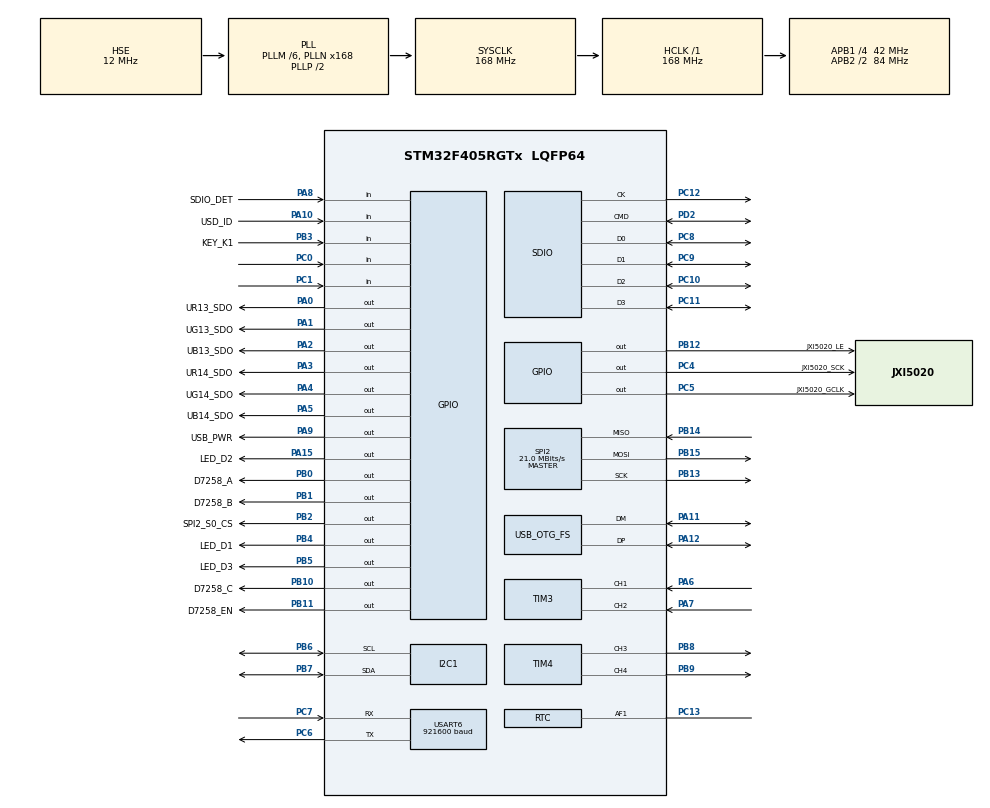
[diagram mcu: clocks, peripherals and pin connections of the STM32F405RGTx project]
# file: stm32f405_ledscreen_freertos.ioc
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Dma.Request0=SDIO_RX
Dma.Request1=SDIO_TX
Dma.SDIO_RX.0.Direction=DMA_PERIPH_TO_MEMORY
Dma.SDIO_RX.0.FIFOMode=DMA_FIFOMODE_ENABLE
Dma.SDIO_RX.0.FIFOThreshold=DMA_FIFO_THRESHOLD_FULL
Dma.SDIO_RX.0.Instance=DMA2_Stream3
Dma.SDIO_RX.0.MemBurst=DMA_MBURST_INC4
Dma.SDIO_RX.0.MemDataAlignment=DMA_MDATAALIGN_WORD
Dma.SDIO_RX.0.MemInc=DMA_MINC_ENABLE
Dma.SDIO_RX.0.Mode=DMA_PFCTRL
Dma.SDIO_RX.0.PeriphBurst=DMA_PBURST_INC4
Dma.SDIO_RX.0.PeriphDataAlignment=DMA_PDATAALIGN_WORD
Dma.SDIO_RX.0.PeriphInc=DMA_PINC_DISABLE
Dma.SDIO_RX.0.Priority=DMA_PRIORITY_HIGH
Dma.SDIO_TX.1.Direction=DMA_MEMORY_TO_PERIPH
Dma.SDIO_TX.1.FIFOMode=DMA_FIFOMODE_ENABLE
Dma.SDIO_TX.1.FIFOThreshold=DMA_FIFO_THRESHOLD_FULL
Dma.SDIO_TX.1.Instance=DMA2_Stream6
Dma.SDIO_TX.1.MemBurst=DMA_MBURST_INC4
Dma.SDIO_TX.1.MemDataAlignment=DMA_MDATAALIGN_WORD
Dma.SDIO_TX.1.MemInc=DMA_MINC_ENABLE
Dma.SDIO_TX.1.Mode=DMA_PFCTRL
Dma.SDIO_TX.1.PeriphBurst=DMA_PBURST_INC4
Dma.SDIO_TX.1.PeriphDataAlignment=DMA_PDATAALIGN_WORD
Dma.SDIO_TX.1.PeriphInc=DMA_PINC_DISABLE
Dma.SDIO_TX.1.Priority=DMA_PRIORITY_HIGH
FREERTOS.Tasks01=defaultTask,0,128,StartDefaultTask,Default,NULL,Dynamic,NULL,NULL;myDisplayTask,-3,256,StartDisplayTask,Default,NULL,Dynamic,NULL,NULL
FREERTOS.configTICK_RATE_HZ=100
Mcu.Family=STM32F4
Mcu.Name=STM32F405RGTx
Mcu.Package=LQFP64
NVIC.DMA2_Stream3_IRQn=true\:5\:0\:false\:false\:true\:true\:false
NVIC.DMA2_Stream6_IRQn=true\:5\:0\:false\:false\:true\:true\:false
NVIC.OTG_FS_IRQn=true\:5\:0\:false\:false\:true\:true\:false
NVIC.PriorityGroup=NVIC_PRIORITYGROUP_4
NVIC.SDIO_IRQn=true\:5\:0\:false\:false\:true\:true\:true
NVIC.TIM6_DAC_IRQn=true\:0\:0\:false\:false\:true\:false\:false
NVIC.TimeBase=TIM6_DAC_IRQn
NVIC.TimeBaseIP=TIM6
PA0-WKUP.GPIO_Label=UR13_SDO
PA0-WKUP.GPIO_Speed=GPIO_SPEED_FREQ_VERY_HIGH
PA0-WKUP.PinState=GPIO_PIN_RESET
PA0-WKUP.Signal=GPIO_Output
PA1.GPIO_Label=UG13_SDO
PA1.GPIO_Speed=GPIO_SPEED_FREQ_VERY_HIGH
PA1.Signal=GPIO_Output
PA10.GPIO_Label=USD_ID
PA10.Signal=GPIO_Input
PA11.Mode=Device_Only
PA11.Signal=USB_OTG_FS_DM
PA12.Mode=Device_Only
PA12.Signal=USB_OTG_FS_DP
PA13.Mode=Serial_Wire
PA13.Signal=SYS_JTMS-SWDIO
PA14.Mode=Serial_Wire
PA14.Signal=SYS_JTCK-SWCLK
PA15.GPIO_Label=LED_D2
PA15.Signal=GPIO_Output
PA2.GPIO_Label=UB13_SDO
PA2.GPIO_Speed=GPIO_SPEED_FREQ_VERY_HIGH
PA2.Signal=GPIO_Output
PA3.GPIO_Label=UR14_SDO
PA3.GPIO_Speed=GPIO_SPEED_FREQ_VERY_HIGH
PA3.Signal=GPIO_Output
PA4.GPIO_Label=UG14_SDO
PA4.GPIO_Speed=GPIO_SPEED_FREQ_VERY_HIGH
PA4.Signal=GPIO_Output
PA5.GPIO_Label=UB14_SDO
PA5.GPIO_Speed=GPIO_SPEED_FREQ_VERY_HIGH
PA5.Signal=GPIO_Output
PA6.Signal=S_TIM3_CH1
PA7.Signal=S_TIM3_CH2
PA8.GPIO_Label=SDIO_DET
PA8.GPIO_PuPd=GPIO_PULLUP
PA8.Signal=GPIO_Input
PA9.GPIO_Label=USB_PWR
PA9.Signal=GPIO_Output
PB0.GPIO_Label=D7258_A
PB0.GPIO_Speed=GPIO_SPEED_FREQ_VERY_HIGH
PB0.Signal=GPIO_Output
PB1.GPIO_Label=D7258_B
PB1.GPIO_Speed=GPIO_SPEED_FREQ_VERY_HIGH
PB1.Signal=GPIO_Output
PB10.GPIO_Label=D7258_C
PB10.GPIO_Speed=GPIO_SPEED_FREQ_VERY_HIGH
PB10.Signal=GPIO_Output
PB11.GPIO_Label=D7258_EN
PB11.GPIO_Speed=GPIO_SPEED_FREQ_VERY_HIGH
PB11.Signal=GPIO_Output
PB12.GPIO_Label=JXI5020_LE
PB12.GPIO_Speed=GPIO_SPEED_FREQ_VERY_HIGH
PB12.Signal=GPIO_Output
PB13.Mode=Full_Duplex_Master
PB13.Signal=SPI2_SCK
PB14.Mode=Full_Duplex_Master
PB14.Signal=SPI2_MISO
PB15.Mode=Full_Duplex_Master
PB15.Signal=SPI2_MOSI
PB2.GPIO_Label=SPI2_S0_CS
PB2.Signal=GPIO_Output
PB3.GPIO_Label=KEY_K1
PB3.Signal=GPIO_Input
PB4.GPIO_Label=LED_D1
PB4.Signal=GPIO_Output
PB5.GPIO_Label=LED_D3
PB5.Signal=GPIO_Output
PB6.Mode=I2C
PB6.Signal=I2C1_SCL
PB7.Mode=I2C
PB7.Signal=I2C1_SDA
PB8.Signal=S_TIM4_CH3
PB9.Signal=S_TIM4_CH4
PC0.Signal=GPIO_Input
PC1.Signal=GPIO_Input
PC10.Mode=SD_4_bits_Wide_bus
PC10.Signal=SDIO_D2
PC11.Mode=SD_4_bits_Wide_bus
PC11.Signal=SDIO_D3
PC12.Mode=SD_4_bits_Wide_bus
PC12.Signal=SDIO_CK
PC13-ANTI_TAMP.Mode=Calibration_1Hz
PC13-ANTI_TAMP.Signal=RTC_AF1
PC14-OSC32_IN.Mode=LSE-External-Oscillator
PC14-OSC32_IN.Signal=RCC_OSC32_IN
PC15-OSC32_OUT.Mode=LSE-External-Oscillator
PC15-OSC32_OUT.Signal=RCC_OSC32_OUT
PC4.GPIO_Label=JXI5020_SCK
PC4.GPIO_Speed=GPIO_SPEED_FREQ_VERY_HIGH
PC4.Signal=GPIO_Output
PC5.GPIO_Label=JXI5020_GCLK
PC5.GPIO_Speed=GPIO_SPEED_FREQ_VERY_HIGH
PC5.Signal=GPIO_Output
PC6.Mode=Asynchronous
PC6.Signal=USART6_TX
PC7.Mode=Asynchronous
PC7.Signal=USART6_RX
PC8.Mode=SD_4_bits_Wide_bus
PC8.Signal=SDIO_D0
PC9.Mode=SD_4_bits_Wide_bus
PC9.Signal=SDIO_D1
PD2.Mode=SD_4_bits_Wide_bus
PD2.Signal=SDIO_CMD
PH0-OSC_IN.GPIO_Label=RCC_OSC12_IN
PH0-OSC_IN.Mode=HSE-External-Oscillator
PH0-OSC_IN.Signal=RCC_OSC_IN
PH1-OSC_OUT.GPIO_Label=RCC_OSC12_OUT
PH1-OSC_OUT.Mode=HSE-External-Oscillator
PH1-OSC_OUT.Signal=RCC_OSC_OUT
ProjectManager.HeapSize=0x200
ProjectManager.StackSize=0x400
ProjectManager.TargetToolchain=Makefile
RCC.48MHZClocksFreq_Value=48000000
RCC.AHBFreq_Value=168000000
RCC.APB1CLKDivider=RCC_HCLK_DIV4
RCC.APB1Freq_Value=42000000
RCC.APB1TimFreq_Value=84000000
RCC.APB2CLKDivider=RCC_HCLK_DIV2
RCC.APB2Freq_Value=84000000
RCC.APB2TimFreq_Value=168000000
RCC.CortexFreq_Value=168000000
RCC.HCLKFreq_Value=168000000
RCC.HSE_VALUE=12000000
RCC.HSI_VALUE=16000000
RCC.PLLM=6
RCC.PLLN=168
RCC.PLLQ=7
RCC.RCC_RTC_Clock_Source=RCC_RTCCLKSOURCE_LSE
RCC.RCC_RTC_Clock_SourceVirtual=RCC_RTCCLKSOURCE_LSE
RCC.SYSCLKFreq_VALUE=168000000
RCC.SYSCLKSource=RCC_SYSCLKSOURCE_PLLCLK
RCC.VCOOutputFreq_Value=336000000
SH.S_TIM3_CH1.0=TIM3_CH1,Input_Capture1_from_TI1
SH.S_TIM3_CH2.0=TIM3_CH2,Input_Capture2_from_TI2
SH.S_TIM4_CH3.0=TIM4_CH3,PWM Generation3 CH3
SH.S_TIM4_CH4.0=TIM4_CH4,PWM Generation4 CH4
SPI2.CalculateBaudRate=21.0 MBits/s
SPI2.Direction=SPI_DIRECTION_2LINES
SPI2.Mode=SPI_MODE_MASTER
SPI2.VirtualType=VM_MASTER
TIM3.Channel-Input_Capture1_from_TI1=TIM_CHANNEL_1
TIM3.Channel-Input_Capture2_from_TI2=TIM_CHANNEL_2
TIM4.Channel-PWM\ Generation3\ CH3=TIM_CHANNEL_3
TIM4.Channel-PWM\ Generation4\ CH4=TIM_CHANNEL_4
USART6.BaudRate=921600
USART6.VirtualMode=VM_ASYNC
USB_DEVICE.CLASS_NAME_FS=CDC
USB_DEVICE.USBD_SELF_POWERED-CDC_FS=0
USB_DEVICE.VirtualMode-CDC_FS=Cdc
USB_DEVICE.VirtualModeFS=Cdc_FS
USB_OTG_FS.VirtualMode=Device_Only
VP_FREERTOS_VS_ENABLE.Mode=Enabled
VP_RTC_VS_RTC_Activate.Mode=RTC_Enabled
VP_SYS_VS_tim6.Mode=TIM6
VP_USB_DEVICE_VS_USB_DEVICE_CDC_FS.Mode=CDC_FS
board=stm32f405_ledscreen_freertos

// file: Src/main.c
/**
  ******************************************************************************
  * @file           : main.c
  * @brief          : Main program body
  ******************************************************************************
  * This notice applies to any and all portions of this file
  * that are not between comment pairs USER CODE BEGIN and
  * USER CODE END. Other portions of this file, whether
  * inserted by the user or by software development tools
  * are owned by their respective copyright owners.
  *
  * Copyright (c) 2018 STMicroelectronics International N.V.
  * All rights reserved.
  *
  * Redistribution and use in source and binary forms, with or without
  * modification, are permitted, provided that the following conditions are met:
  *
  * 1. Redistribution of source code must retain the above copyright notice,
  *    this list of conditions and the following disclaimer.
  * 2. Redistributions in binary form must reproduce the above copyright notice,
  *    this list of conditions and the following disclaimer in the documentation
  *    and/or other materials provided with the distribution.
  * 3. Neither the name of STMicroelectronics nor the names of other
  *    contributors to this software may be used to endorse or promote products
  *    derived from this software without specific written permission.
  * 4. This software, including modifications and/or derivative works of this
  *    software, must execute solely and exclusively on microcontroller or
  *    microprocessor devices manufactured by or for STMicroelectronics.
  * 5. Redistribution and use of this software other than as permitted under
  *    this license is void and will automatically terminate your rights under
  *    this license.
  *
  * THIS SOFTWARE IS PROVIDED BY STMICROELECTRONICS AND CONTRIBUTORS "AS IS"
  * AND ANY EXPRESS, IMPLIED OR STATUTORY WARRANTIES, INCLUDING, BUT NOT
  * LIMITED TO, THE IMPLIED WARRANTIES OF MERCHANTABILITY, FITNESS FOR A
  * PARTICULAR PURPOSE AND NON-INFRINGEMENT OF THIRD PARTY INTELLECTUAL PROPERTY
  * RIGHTS ARE DISCLAIMED TO THE FULLEST EXTENT PERMITTED BY LAW. IN NO EVENT
  * SHALL STMICROELECTRONICS OR CONTRIBUTORS BE LIABLE FOR ANY DIRECT, INDIRECT,
  * INCIDENTAL, SPECIAL, EXEMPLARY, OR CONSEQUENTIAL DAMAGES (INCLUDING, BUT NOT
  * LIMITED TO, PROCUREMENT OF SUBSTITUTE GOODS OR SERVICES; LOSS OF USE, DATA,
  * OR PROFITS; OR BUSINESS INTERRUPTION) HOWEVER CAUSED AND ON ANY THEORY OF
  * LIABILITY, WHETHER IN CONTRACT, STRICT LIABILITY, OR TORT (INCLUDING
  * NEGLIGENCE OR OTHERWISE) ARISING IN ANY WAY OUT OF THE USE OF THIS SOFTWARE,
  * EVEN IF ADVISED OF THE POSSIBILITY OF SUCH DAMAGE.
  *
  ******************************************************************************
  */
#include "main.h"
#include "stm32f4xx_hal.h"
#include "cmsis_os.h"
#include "usb_device.h"

/* USER CODE BEGIN Includes */
#include "led_display.h"
/* USER CODE END Includes */

I2C_HandleTypeDef hi2c1;

RTC_HandleTypeDef hrtc;

SD_HandleTypeDef hsd;
DMA_HandleTypeDef hdma_sdio_rx;
DMA_HandleTypeDef hdma_sdio_tx;

SPI_HandleTypeDef hspi2;

TIM_HandleTypeDef htim3;
TIM_HandleTypeDef htim4;

UART_HandleTypeDef huart6;

osThreadId defaultTaskHandle;
osThreadId myDisplayTaskHandle;

/* USER CODE BEGIN PV */
/* Private variables ---------------------------------------------------------*/
/* USER CODE BEGIN 4 */
#ifdef __GNUC__
/* With GCC/RAISONANCE, small printf (option LD Linker->Libraries->Small printf
     set to 'Yes') calls __io_putchar() */
#define PUTCHAR_PROTOTYPE int __io_putchar(int ch)
#else
#define PUTCHAR_PROTOTYPE int fputc(int ch, FILE *f)
#endif /* __GNUC__ */
//extern  HAL_StatusTypeDef UART_WaitOnFlagUntilTimeout(UART_HandleTypeDef *huart, uint32_t Flag, FlagStatus Status, uint32_t Tickstart, uint32_t Timeout);
PUTCHAR_PROTOTYPE
{
	/* Place your implementation of fputc here */
	/* e.g. write a character to the USART */
	//uint8_t data = (uint8_t)ch;
	//HAL_UART_Transmit(&huart2, &data, 1, 0xff);
	uint32_t tickstart = HAL_GetTick();
	huart6.Instance->DR = ((uint16_t)ch & (uint16_t)0x01FF);
	while(((__HAL_UART_GET_FLAG(&huart6, UART_FLAG_TC) ? SET : RESET) == RESET) || ((HAL_GetTick() - tickstart ) > 0xff));
	//CLEAR_BIT(huart2.Instance->CR1, (USART_CR1_RXNEIE | USART_CR1_PEIE | USART_CR1_TXEIE));
    //CLEAR_BIT(huart2.Instance->CR3, USART_CR3_EIE);
	//UART_WaitOnFlagUntilTimeout(&huart2, UART_FLAG_TC, RESET, HAL_GetTick(), 0xff);
	return ch;
}
/* USER CODE END 4 */
/* USER CODE END PV */

void SystemClock_Config(void);
static void MX_GPIO_Init(void);
static void MX_DMA_Init(void);
static void MX_USART6_UART_Init(void);
static void MX_RTC_Init(void);
static void MX_I2C1_Init(void);
static void MX_SDIO_SD_Init(void);
static void MX_TIM4_Init(void);
static void MX_TIM3_Init(void);
static void MX_SPI2_Init(void);
void StartDefaultTask(void const * argument);
void StartDisplayTask(void const * argument);

void HAL_TIM_MspPostInit(TIM_HandleTypeDef *htim);

/* USER CODE BEGIN PFP */
/* Private function prototypes -----------------------------------------------*/

/* USER CODE END PFP */

int main(void)
{

  /* MCU Configuration----------------------------------------------------------*/

  /* Reset of all peripherals, Initializes the Flash interface and the Systick. */
  HAL_Init();

  /* Configure the system clock */
  SystemClock_Config();

  /* Initialize all configured peripherals */
  MX_GPIO_Init();
  MX_DMA_Init();
  MX_USART6_UART_Init();
  MX_RTC_Init();
  MX_I2C1_Init();
  MX_SDIO_SD_Init();
  MX_TIM4_Init();
  MX_TIM3_Init();
  MX_SPI2_Init();

  /* Create the thread(s) */
  /* definition and creation of defaultTask */
  osThreadDef(defaultTask, StartDefaultTask, osPriorityNormal, 0, 128);
  defaultTaskHandle = osThreadCreate(osThread(defaultTask), NULL);

  /* definition and creation of myDisplayTask */
  osThreadDef(myDisplayTask, StartDisplayTask, osPriorityIdle, 0, 256);
  myDisplayTaskHandle = osThreadCreate(osThread(myDisplayTask), NULL);

  /* Start scheduler */
  osKernelStart();

  /* We should never get here as control is now taken by the scheduler */

  /* Infinite loop */
  while (1)
  {

  }

}

void SystemClock_Config(void)
{

  RCC_OscInitTypeDef RCC_OscInitStruct;
  RCC_ClkInitTypeDef RCC_ClkInitStruct;
  RCC_PeriphCLKInitTypeDef PeriphClkInitStruct;

    /**Configure the main internal regulator output voltage
    */
  __HAL_RCC_PWR_CLK_ENABLE();

  __HAL_PWR_VOLTAGESCALING_CONFIG(PWR_REGULATOR_VOLTAGE_SCALE1);

    /**Initializes the CPU, AHB and APB busses clocks
    */
  RCC_OscInitStruct.OscillatorType = RCC_OSCILLATORTYPE_HSE|RCC_OSCILLATORTYPE_LSE;
  RCC_OscInitStruct.HSEState = RCC_HSE_ON;
  RCC_OscInitStruct.LSEState = RCC_LSE_ON;
  RCC_OscInitStruct.PLL.PLLState = RCC_PLL_ON;
  RCC_OscInitStruct.PLL.PLLSource = RCC_PLLSOURCE_HSE;
  RCC_OscInitStruct.PLL.PLLM = 6;
  RCC_OscInitStruct.PLL.PLLN = 168;
  RCC_OscInitStruct.PLL.PLLP = RCC_PLLP_DIV2;
  RCC_OscInitStruct.PLL.PLLQ = 7;
  if (HAL_RCC_OscConfig(&RCC_OscInitStruct) != HAL_OK)
  {
    _Error_Handler(__FILE__, __LINE__);
  }

    /**Initializes the CPU, AHB and APB busses clocks
    */
  RCC_ClkInitStruct.ClockType = RCC_CLOCKTYPE_HCLK|RCC_CLOCKTYPE_SYSCLK
                              |RCC_CLOCKTYPE_PCLK1|RCC_CLOCKTYPE_PCLK2;
  RCC_ClkInitStruct.SYSCLKSource = RCC_SYSCLKSOURCE_PLLCLK;
  RCC_ClkInitStruct.AHBCLKDivider = RCC_SYSCLK_DIV1;
  RCC_ClkInitStruct.APB1CLKDivider = RCC_HCLK_DIV4;
  RCC_ClkInitStruct.APB2CLKDivider = RCC_HCLK_DIV2;

  if (HAL_RCC_ClockConfig(&RCC_ClkInitStruct, FLASH_LATENCY_5) != HAL_OK)
  {
    _Error_Handler(__FILE__, __LINE__);
  }

  PeriphClkInitStruct.PeriphClockSelection = RCC_PERIPHCLK_RTC;
  PeriphClkInitStruct.RTCClockSelection = RCC_RTCCLKSOURCE_LSE;
  if (HAL_RCCEx_PeriphCLKConfig(&PeriphClkInitStruct) != HAL_OK)
  {
    _Error_Handler(__FILE__, __LINE__);
  }

    /**Configure the Systick interrupt time
    */
  HAL_SYSTICK_Config(HAL_RCC_GetHCLKFreq()/1000);

    /**Configure the Systick
    */
  HAL_SYSTICK_CLKSourceConfig(SYSTICK_CLKSOURCE_HCLK);

  /* SysTick_IRQn interrupt configuration */
  HAL_NVIC_SetPriority(SysTick_IRQn, 15, 0);
}

/* I2C1 init function */
static void MX_I2C1_Init(void)
{

  hi2c1.Instance = I2C1;
  hi2c1.Init.ClockSpeed = 100000;
  hi2c1.Init.DutyCycle = I2C_DUTYCYCLE_2;
  hi2c1.Init.OwnAddress1 = 0;
  hi2c1.Init.AddressingMode = I2C_ADDRESSINGMODE_7BIT;
  hi2c1.Init.DualAddressMode = I2C_DUALADDRESS_DISABLE;
  hi2c1.Init.OwnAddress2 = 0;
  hi2c1.Init.GeneralCallMode = I2C_GENERALCALL_DISABLE;
  hi2c1.Init.NoStretchMode = I2C_NOSTRETCH_DISABLE;
  if (HAL_I2C_Init(&hi2c1) != HAL_OK)
  {
    _Error_Handler(__FILE__, __LINE__);
  }

}

/* RTC init function */
static void MX_RTC_Init(void)
{

    /**Initialize RTC Only
    */
  hrtc.Instance = RTC;
  hrtc.Init.HourFormat = RTC_HOURFORMAT_24;
  hrtc.Init.AsynchPrediv = 127;
  hrtc.Init.SynchPrediv = 255;
  hrtc.Init.OutPut = RTC_OUTPUT_DISABLE;
  hrtc.Init.OutPutPolarity = RTC_OUTPUT_POLARITY_HIGH;
  hrtc.Init.OutPutType = RTC_OUTPUT_TYPE_OPENDRAIN;
  if (HAL_RTC_Init(&hrtc) != HAL_OK)
  {
    _Error_Handler(__FILE__, __LINE__);
  }

    /**Enable Calibrartion
    */
  if (HAL_RTCEx_SetCalibrationOutPut(&hrtc, RTC_CALIBOUTPUT_1HZ) != HAL_OK)
  {
    _Error_Handler(__FILE__, __LINE__);
  }

}

/* SDIO init function */
static void MX_SDIO_SD_Init(void)
{

  hsd.Instance = SDIO;
  hsd.Init.ClockEdge = SDIO_CLOCK_EDGE_RISING;
  hsd.Init.ClockBypass = SDIO_CLOCK_BYPASS_DISABLE;
  hsd.Init.ClockPowerSave = SDIO_CLOCK_POWER_SAVE_DISABLE;
  hsd.Init.BusWide = SDIO_BUS_WIDE_1B;
  hsd.Init.HardwareFlowControl = SDIO_HARDWARE_FLOW_CONTROL_DISABLE;
  hsd.Init.ClockDiv = 0;
  if (HAL_SD_Init(&hsd) != HAL_OK)
  {
    _Error_Handler(__FILE__, __LINE__);
  }

  if (HAL_SD_ConfigWideBusOperation(&hsd, SDIO_BUS_WIDE_4B) != HAL_OK)
  {
    _Error_Handler(__FILE__, __LINE__);
  }

}

/* SPI2 init function */
static void MX_SPI2_Init(void)
{

  /* SPI2 parameter configuration*/
  hspi2.Instance = SPI2;
  hspi2.Init.Mode = SPI_MODE_MASTER;
  hspi2.Init.Direction = SPI_DIRECTION_2LINES;
  hspi2.Init.DataSize = SPI_DATASIZE_8BIT;
  hspi2.Init.CLKPolarity = SPI_POLARITY_LOW;
  hspi2.Init.CLKPhase = SPI_PHASE_1EDGE;
  hspi2.Init.NSS = SPI_NSS_SOFT;
  hspi2.Init.BaudRatePrescaler = SPI_BAUDRATEPRESCALER_2;
  hspi2.Init.FirstBit = SPI_FIRSTBIT_MSB;
  hspi2.Init.TIMode = SPI_TIMODE_DISABLE;
  hspi2.Init.CRCCalculation = SPI_CRCCALCULATION_DISABLE;
  hspi2.Init.CRCPolynomial = 10;
  if (HAL_SPI_Init(&hspi2) != HAL_OK)
  {
    _Error_Handler(__FILE__, __LINE__);
  }

}

/* TIM3 init function */
static void MX_TIM3_Init(void)
{

  TIM_MasterConfigTypeDef sMasterConfig;
  TIM_IC_InitTypeDef sConfigIC;

  htim3.Instance = TIM3;
  htim3.Init.Prescaler = 0;
  htim3.Init.CounterMode = TIM_COUNTERMODE_UP;
  htim3.Init.Period = 0;
  htim3.Init.ClockDivision = TIM_CLOCKDIVISION_DIV1;
  if (HAL_TIM_IC_Init(&htim3) != HAL_OK)
  {
    _Error_Handler(__FILE__, __LINE__);
  }

  sMasterConfig.MasterOutputTrigger = TIM_TRGO_RESET;
  sMasterConfig.MasterSlaveMode = TIM_MASTERSLAVEMODE_DISABLE;
  if (HAL_TIMEx_MasterConfigSynchronization(&htim3, &sMasterConfig) != HAL_OK)
  {
    _Error_Handler(__FILE__, __LINE__);
  }

  sConfigIC.ICPolarity = TIM_INPUTCHANNELPOLARITY_RISING;
  sConfigIC.ICSelection = TIM_ICSELECTION_DIRECTTI;
  sConfigIC.ICPrescaler = TIM_ICPSC_DIV1;
  sConfigIC.ICFilter = 0;
  if (HAL_TIM_IC_ConfigChannel(&htim3, &sConfigIC, TIM_CHANNEL_1) != HAL_OK)
  {
    _Error_Handler(__FILE__, __LINE__);
  }

  if (HAL_TIM_IC_ConfigChannel(&htim3, &sConfigIC, TIM_CHANNEL_2) != HAL_OK)
  {
    _Error_Handler(__FILE__, __LINE__);
  }

}

/* TIM4 init function */
static void MX_TIM4_Init(void)
{

  TIM_MasterConfigTypeDef sMasterConfig;
  TIM_OC_InitTypeDef sConfigOC;

  htim4.Instance = TIM4;
  htim4.Init.Prescaler = 0;
  htim4.Init.CounterMode = TIM_COUNTERMODE_UP;
  htim4.Init.Period = 0;
  htim4.Init.ClockDivision = TIM_CLOCKDIVISION_DIV1;
  if (HAL_TIM_PWM_Init(&htim4) != HAL_OK)
  {
    _Error_Handler(__FILE__, __LINE__);
  }

  sMasterConfig.MasterOutputTrigger = TIM_TRGO_RESET;
  sMasterConfig.MasterSlaveMode = TIM_MASTERSLAVEMODE_DISABLE;
  if (HAL_TIMEx_MasterConfigSynchronization(&htim4, &sMasterConfig) != HAL_OK)
  {
    _Error_Handler(__FILE__, __LINE__);
  }

  sConfigOC.OCMode = TIM_OCMODE_PWM1;
  sConfigOC.Pulse = 0;
  sConfigOC.OCPolarity = TIM_OCPOLARITY_HIGH;
  sConfigOC.OCFastMode = TIM_OCFAST_DISABLE;
  if (HAL_TIM_PWM_ConfigChannel(&htim4, &sConfigOC, TIM_CHANNEL_3) != HAL_OK)
  {
    _Error_Handler(__FILE__, __LINE__);
  }

  if (HAL_TIM_PWM_ConfigChannel(&htim4, &sConfigOC, TIM_CHANNEL_4) != HAL_OK)
  {
    _Error_Handler(__FILE__, __LINE__);
  }

  HAL_TIM_MspPostInit(&htim4);

}

/* USART6 init function */
static void MX_USART6_UART_Init(void)
{

  huart6.Instance = USART6;
  huart6.Init.BaudRate = 921600;
  huart6.Init.WordLength = UART_WORDLENGTH_8B;
  huart6.Init.StopBits = UART_STOPBITS_1;
  huart6.Init.Parity = UART_PARITY_NONE;
  huart6.Init.Mode = UART_MODE_TX_RX;
  huart6.Init.HwFlowCtl = UART_HWCONTROL_NONE;
  huart6.Init.OverSampling = UART_OVERSAMPLING_16;
  if (HAL_UART_Init(&huart6) != HAL_OK)
  {
    _Error_Handler(__FILE__, __LINE__);
  }

}

static void MX_DMA_Init(void)
{
  /* DMA controller clock enable */
  __HAL_RCC_DMA2_CLK_ENABLE();

  /* DMA interrupt init */
  /* DMA2_Stream3_IRQn interrupt configuration */
  HAL_NVIC_SetPriority(DMA2_Stream3_IRQn, 5, 0);
  HAL_NVIC_EnableIRQ(DMA2_Stream3_IRQn);
  /* DMA2_Stream6_IRQn interrupt configuration */
  HAL_NVIC_SetPriority(DMA2_Stream6_IRQn, 5, 0);
  HAL_NVIC_EnableIRQ(DMA2_Stream6_IRQn);

}

/** Configure pins as
        * Analog
        * Input
        * Output
        * EVENT_OUT
        * EXTI
*/
static void MX_GPIO_Init(void)
{

  GPIO_InitTypeDef GPIO_InitStruct;

  /* GPIO Ports Clock Enable */
  __HAL_RCC_GPIOC_CLK_ENABLE();
  __HAL_RCC_GPIOH_CLK_ENABLE();
  __HAL_RCC_GPIOA_CLK_ENABLE();
  __HAL_RCC_GPIOB_CLK_ENABLE();
  __HAL_RCC_GPIOD_CLK_ENABLE();

  /*Configure GPIO pin Output Level */
  HAL_GPIO_WritePin(GPIOA, UR13_SDO_Pin|UG13_SDO_Pin|UB13_SDO_Pin|UR14_SDO_Pin
                          |UG14_SDO_Pin|UB14_SDO_Pin|USB_PWR_Pin|LED_D2_Pin, GPIO_PIN_RESET);

  /*Configure GPIO pin Output Level */
  HAL_GPIO_WritePin(GPIOC, JXI5020_SCK_Pin|JXI5020_GCLK_Pin, GPIO_PIN_RESET);

  /*Configure GPIO pin Output Level */
  HAL_GPIO_WritePin(GPIOB, D7258_A_Pin|D7258_B_Pin|SPI2_S0_CS_Pin|D7258_C_Pin
                          |D7258_EN_Pin|JXI5020_LE_Pin|LED_D1_Pin|LED_D3_Pin, GPIO_PIN_RESET);

  /*Configure GPIO pins : PC0 PC1 */
  GPIO_InitStruct.Pin = GPIO_PIN_0|GPIO_PIN_1;
  GPIO_InitStruct.Mode = GPIO_MODE_INPUT;
  GPIO_InitStruct.Pull = GPIO_NOPULL;
  HAL_GPIO_Init(GPIOC, &GPIO_InitStruct);

  /*Configure GPIO pins : UR13_SDO_Pin UG13_SDO_Pin UB13_SDO_Pin UR14_SDO_Pin
                           UG14_SDO_Pin UB14_SDO_Pin */
  GPIO_InitStruct.Pin = UR13_SDO_Pin|UG13_SDO_Pin|UB13_SDO_Pin|UR14_SDO_Pin
                          |UG14_SDO_Pin|UB14_SDO_Pin;
  GPIO_InitStruct.Mode = GPIO_MODE_OUTPUT_PP;
  GPIO_InitStruct.Pull = GPIO_NOPULL;
  GPIO_InitStruct.Speed = GPIO_SPEED_FREQ_VERY_HIGH;
  HAL_GPIO_Init(GPIOA, &GPIO_InitStruct);

  /*Configure GPIO pins : JXI5020_SCK_Pin JXI5020_GCLK_Pin */
  GPIO_InitStruct.Pin = JXI5020_SCK_Pin|JXI5020_GCLK_Pin;
  GPIO_InitStruct.Mode = GPIO_MODE_OUTPUT_PP;
  GPIO_InitStruct.Pull = GPIO_NOPULL;
  GPIO_InitStruct.Speed = GPIO_SPEED_FREQ_VERY_HIGH;
  HAL_GPIO_Init(GPIOC, &GPIO_InitStruct);

  /*Configure GPIO pins : D7258_A_Pin D7258_B_Pin D7258_C_Pin D7258_EN_Pin
                           JXI5020_LE_Pin */
  GPIO_InitStruct.Pin = D7258_A_Pin|D7258_B_Pin|D7258_C_Pin|D7258_EN_Pin
                          |JXI5020_LE_Pin;
  GPIO_InitStruct.Mode = GPIO_MODE_OUTPUT_PP;
  GPIO_InitStruct.Pull = GPIO_NOPULL;
  GPIO_InitStruct.Speed = GPIO_SPEED_FREQ_VERY_HIGH;
  HAL_GPIO_Init(GPIOB, &GPIO_InitStruct);

  /*Configure GPIO pins : SPI2_S0_CS_Pin LED_D1_Pin LED_D3_Pin */
  GPIO_InitStruct.Pin = SPI2_S0_CS_Pin|LED_D1_Pin|LED_D3_Pin;
  GPIO_InitStruct.Mode = GPIO_MODE_OUTPUT_PP;
  GPIO_InitStruct.Pull = GPIO_NOPULL;
  GPIO_InitStruct.Speed = GPIO_SPEED_FREQ_LOW;
  HAL_GPIO_Init(GPIOB, &GPIO_InitStruct);

  /*Configure GPIO pin : SDIO_DET_Pin */
  GPIO_InitStruct.Pin = SDIO_DET_Pin;
  GPIO_InitStruct.Mode = GPIO_MODE_INPUT;
  GPIO_InitStruct.Pull = GPIO_PULLUP;
  HAL_GPIO_Init(SDIO_DET_GPIO_Port, &GPIO_InitStruct);

  /*Configure GPIO pins : USB_PWR_Pin LED_D2_Pin */
  GPIO_InitStruct.Pin = USB_PWR_Pin|LED_D2_Pin;
  GPIO_InitStruct.Mode = GPIO_MODE_OUTPUT_PP;
  GPIO_InitStruct.Pull = GPIO_NOPULL;
  GPIO_InitStruct.Speed = GPIO_SPEED_FREQ_LOW;
  HAL_GPIO_Init(GPIOA, &GPIO_InitStruct);

  /*Configure GPIO pin : USD_ID_Pin */
  GPIO_InitStruct.Pin = USD_ID_Pin;
  GPIO_InitStruct.Mode = GPIO_MODE_INPUT;
  GPIO_InitStruct.Pull = GPIO_NOPULL;
  HAL_GPIO_Init(USD_ID_GPIO_Port, &GPIO_InitStruct);

  /*Configure GPIO pin : KEY_K1_Pin */
  GPIO_InitStruct.Pin = KEY_K1_Pin;
  GPIO_InitStruct.Mode = GPIO_MODE_INPUT;
  GPIO_InitStruct.Pull = GPIO_NOPULL;
  HAL_GPIO_Init(KEY_K1_GPIO_Port, &GPIO_InitStruct);

}

void StartDefaultTask(void const * argument)
{
  /* init code for USB_DEVICE */
  MX_USB_DEVICE_Init();

  /* USER CODE BEGIN 5 */
  /* Infinite loop */
  for(;;)
  {
    osDelay(1000);
    printf("StartDefaultTask\n");
  }
  /* USER CODE END 5 */
}

void StartDisplayTask(void const * argument)
{
  /* USER CODE BEGIN StartDisplayTask */
  osDelay(1000);
  /* Infinite loop */
  for(;;)
  {
    display_full();
    //osDelay(1);
  }
  /* USER CODE END StartDisplayTask */
}

void HAL_TIM_PeriodElapsedCallback(TIM_HandleTypeDef *htim)
{
  if (htim->Instance == TIM6) {
    HAL_IncTick();
  }
}

void _Error_Handler(char *file, int line)
{
  while(1)
  {
  }
}

/************************ (C) COPYRIGHT STMicroelectronics *****END OF FILE****/
